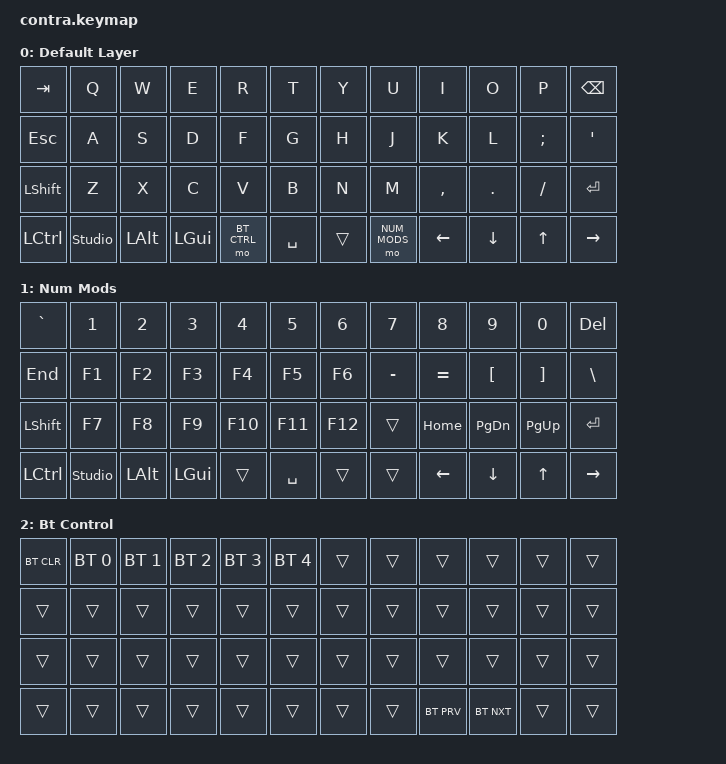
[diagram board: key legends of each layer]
    /*
     * Copyright (c) 2021 The ZMK Contributors
     *
     * SPDX-License-Identifier: MIT
     */

    #include <dt-bindings/zmk/backlight.h>
    #include <behaviors.dtsi>
    #include <dt-bindings/zmk/keys.h>
    #include <dt-bindings/zmk/bt.h>
    #include <dt-bindings/zmk/outputs.h>

    #define DEFAULT  0
    #define NUM_MODS 1
    #define BT_CTRL  2

    / {
        keymap {
            compatible = "zmk,keymap";
            default_layer {
                display-name = "Default Layer";
                bindings = <
        &kp TAB    &kp Q            &kp W     &kp E       &kp R       &kp T       &kp Y         &kp U        &kp I     &kp O     &kp P    &kp BSPC
        &kp ESC    &kp A            &kp S     &kp D       &kp F       &kp G       &kp H         &kp J        &kp K     &kp L     &kp SEMI &kp SQT
        &kp LSHFT  &kp Z            &kp X     &kp C       &kp V       &kp B       &kp N         &kp M        &kp COMMA &kp DOT   &kp FSLH &kp ENTER
        &kp LCTRL  &studio_unlock   &kp LALT  &kp LGUI    &mo BT_CTRL &kp SPACE   &trans        &mo NUM_MODS &kp LEFT  &kp DOWN  &kp UP   &kp RIGHT
                >;
            };

            num_mods {
                display-name = "Num Mods";
                bindings = <
        &kp GRAVE  &kp N1           &kp N2    &kp N3      &kp N4      &kp N5       &kp N6       &kp N7     &kp N8    &kp N9    &kp N0    &kp DEL
        &kp END    &kp F1           &kp F2    &kp F3      &kp F4      &kp F5       &kp F6       &kp MINUS  &kp EQUAL &kp LBKT  &kp RBKT  &kp BSLH
        &kp LSHFT  &kp F7           &kp F8    &kp F9      &kp F10     &kp F11      &kp F12      &trans     &kp HOME  &kp PG_DN &kp PG_UP &kp ENTER
        &kp LCTRL  &studio_unlock   &kp LALT  &kp LGUI    &trans      &kp SPACE    &trans       &trans     &kp LEFT  &kp DOWN  &kp UP    &kp RIGHT
                >;
            };


            bt_control {
                display-name = "Bt Control";
                bindings = <
        &bt BT_CLR &bt BT_SEL 0 &bt BT_SEL 1 &bt BT_SEL 2 &bt BT_SEL 3 &bt BT_SEL 4 &trans    &trans       &trans     &trans     &trans   &trans
        &trans     &trans       &trans       &trans       &trans       &trans       &trans    &trans       &trans     &trans     &trans   &trans
        &trans     &trans       &trans       &trans       &trans       &trans       &trans    &trans       &trans     &trans     &trans   &trans
        &trans     &trans       &trans       &trans       &trans       &trans       &trans    &trans       &bt BT_PRV &bt BT_NXT &trans   &trans
                >;
            };
        };
    };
